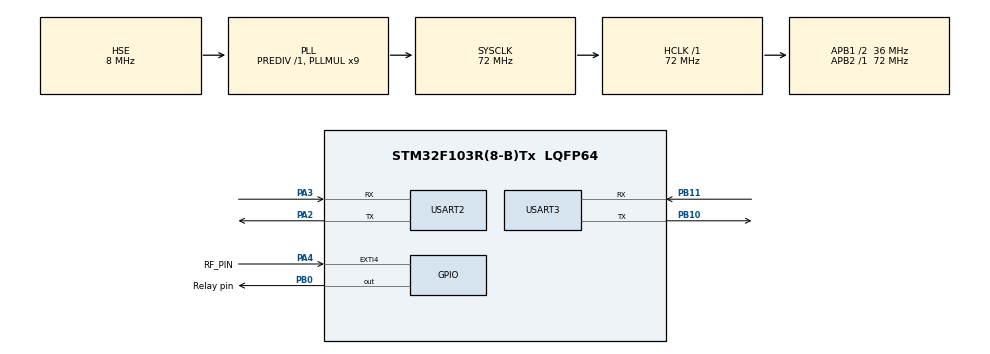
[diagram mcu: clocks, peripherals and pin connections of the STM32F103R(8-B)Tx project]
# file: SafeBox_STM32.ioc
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Dma.Request0=USART2_RX
Dma.USART2_RX.0.Direction=DMA_PERIPH_TO_MEMORY
Dma.USART2_RX.0.Instance=DMA1_Channel6
Dma.USART2_RX.0.MemDataAlignment=DMA_MDATAALIGN_BYTE
Dma.USART2_RX.0.MemInc=DMA_MINC_ENABLE
Dma.USART2_RX.0.Mode=DMA_CIRCULAR
Dma.USART2_RX.0.PeriphDataAlignment=DMA_PDATAALIGN_BYTE
Dma.USART2_RX.0.PeriphInc=DMA_PINC_DISABLE
Dma.USART2_RX.0.Priority=DMA_PRIORITY_MEDIUM
FREERTOS.Tasks01=defaultTask,24,128,StartDefaultTask,Default,NULL,Dynamic,NULL,NULL;GpsTask,25,256,StartTask02,Default,NULL,Dynamic,NULL,NULL;GsmTask,16,256,StartGsmTask,Default,NULL,Dynamic,NULL,NULL;RfTask,32,128,StartRfTask,Default,NULL,Dynamic,NULL,NULL
FREERTOS.configTOTAL_HEAP_SIZE=10240
FREERTOS.configUSE_NEWLIB_REENTRANT=1
FREERTOS.configUSE_PREEMPTION=1
Mcu.Family=STM32F1
Mcu.Name=STM32F103R(8-B)Tx
Mcu.Package=LQFP64
NVIC.DMA1_Channel6_IRQn=true\:5\:0\:false\:false\:true\:true\:false\:true\:true
NVIC.EXTI4_IRQn=true\:5\:0\:false\:false\:true\:true\:true\:true\:true
NVIC.PriorityGroup=NVIC_PRIORITYGROUP_4
NVIC.TIM1_UP_IRQn=true\:15\:0\:false\:false\:true\:false\:false\:true\:true
NVIC.TimeBase=TIM1_UP_IRQn
NVIC.TimeBaseIP=TIM1
NVIC.USART2_IRQn=true\:5\:0\:false\:false\:true\:true\:true\:true\:true
NVIC.USART3_IRQn=true\:5\:0\:false\:false\:true\:true\:true\:true\:true
PA13.Mode=Serial_Wire
PA13.Signal=SYS_JTMS-SWDIO
PA14.Mode=Serial_Wire
PA14.Signal=SYS_JTCK-SWCLK
PA2.Mode=Asynchronous
PA2.Signal=USART2_TX
PA3.Mode=Asynchronous
PA3.Signal=USART2_RX
PA4.GPIO_Label=RF_PIN
PA4.GPIO_ModeDefaultEXTI=GPIO_MODE_IT_RISING_FALLING
PA4.GPIO_PuPd=GPIO_PULLDOWN
PA4.Signal=GPXTI4
PB0.GPIO_Label=Relay pin
PB0.Signal=GPIO_Output
PB10.Mode=Asynchronous
PB10.Signal=USART3_TX
PB11.Mode=Asynchronous
PB11.Signal=USART3_RX
PD0-OSC_IN.Mode=HSE-External-Oscillator
PD0-OSC_IN.Signal=RCC_OSC_IN
PD1-OSC_OUT.Mode=HSE-External-Oscillator
PD1-OSC_OUT.Signal=RCC_OSC_OUT
ProjectManager.HeapSize=0x200
ProjectManager.StackSize=0x400
ProjectManager.TargetToolchain=STM32CubeIDE
RCC.AHBFreq_Value=72000000
RCC.APB1CLKDivider=RCC_HCLK_DIV2
RCC.APB1Freq_Value=36000000
RCC.APB1TimFreq_Value=72000000
RCC.APB2Freq_Value=72000000
RCC.APB2TimFreq_Value=72000000
RCC.HCLKFreq_Value=72000000
RCC.PLLMUL=RCC_PLL_MUL9
RCC.PLLSourceVirtual=RCC_PLLSOURCE_HSE
RCC.SYSCLKFreq_VALUE=72000000
RCC.SYSCLKSource=RCC_SYSCLKSOURCE_PLLCLK
RCC.USBFreq_Value=72000000
USART2.VirtualMode=VM_ASYNC
USART3.VirtualMode=VM_ASYNC
VP_FREERTOS_VS_CMSIS_V2.Mode=CMSIS_V2
VP_SYS_VS_tim1.Mode=TIM1
board=custom

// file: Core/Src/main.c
/* USER CODE BEGIN Header */
/**
  ******************************************************************************
  * @file           : main.c
  * @brief          : Main program body
  ******************************************************************************
  * @attention
  *
  * Copyright (c) 2026 STMicroelectronics.
  * All rights reserved.
  *
  * This software is licensed under terms that can be found in the LICENSE file
  * in the root directory of this software component.
  * If no LICENSE file comes with this software, it is provided AS-IS.
  *
  ******************************************************************************
  */
/* USER CODE END Header */
#include "main.h"
#include "cmsis_os.h"

/* USER CODE BEGIN Includes */
#include "esp_bridge.h"
#include "bn220.h"
#include "rf433.h"
#include <string.h>
#include <stdio.h>
/* USER CODE END Includes */

UART_HandleTypeDef huart2;
UART_HandleTypeDef huart3;
DMA_HandleTypeDef hdma_usart2_rx;

/* Definitions for defaultTask */
osThreadId_t defaultTaskHandle;
const osThreadAttr_t defaultTask_attributes = {
  .name = "defaultTask",
  .stack_size = 128 * 4,
  .priority = (osPriority_t) osPriorityNormal,
};
/* Definitions for GpsTask */
osThreadId_t GpsTaskHandle;
const osThreadAttr_t GpsTask_attributes = {
  .name = "GpsTask",
  .stack_size = 256 * 4,
  .priority = (osPriority_t) osPriorityNormal1,
};
/* Definitions for GsmTask */
osThreadId_t GsmTaskHandle;
const osThreadAttr_t GsmTask_attributes = {
  .name = "GsmTask",
  .stack_size = 256 * 4,
  .priority = (osPriority_t) osPriorityBelowNormal,
};
/* Definitions for RfTask */
osThreadId_t RfTaskHandle;
const osThreadAttr_t RfTask_attributes = {
  .name = "RfTask",
  .stack_size = 128 * 4,
  .priority = (osPriority_t) osPriorityAboveNormal,
};
/* USER CODE BEGIN PV */
#define DEVICE_ID "SAFEBOX_002"
/* Shared state */
volatile bool  g_isLocked    = true;
volatile bool  g_cloudLocked = true;
volatile float g_battery     = 100.0f;
volatile float g_fuel        = 100.0f;
extern uint8_t gps_rx_buffer[GPS_DMA_RX_BUFFER_SIZE];
/* USER CODE END PV */

void SystemClock_Config(void);
static void MX_GPIO_Init(void);
static void MX_DMA_Init(void);
static void MX_USART2_UART_Init(void);
static void MX_USART3_UART_Init(void);
void StartDefaultTask(void *argument);
void StartTask02(void *argument);
void StartGsmTask(void *argument);
void StartRfTask(void *argument);

int main(void)
{

  /* MCU Configuration--------------------------------------------------------*/

  /* Reset of all peripherals, Initializes the Flash interface and the Systick. */
  HAL_Init();

  /* Configure the system clock */
  SystemClock_Config();

  /* Initialize all configured peripherals */
  MX_GPIO_Init();
  MX_DMA_Init();
  MX_USART2_UART_Init();
  MX_USART3_UART_Init();

  /* Init scheduler */
  osKernelInitialize();

  /* Create the thread(s) */
  /* creation of defaultTask */
  defaultTaskHandle = osThreadNew(StartDefaultTask, NULL, &defaultTask_attributes);

  /* creation of GpsTask */
  GpsTaskHandle = osThreadNew(StartTask02, NULL, &GpsTask_attributes);

  /* creation of GsmTask */
  GsmTaskHandle = osThreadNew(StartGsmTask, NULL, &GsmTask_attributes);

  /* creation of RfTask */
  RfTaskHandle = osThreadNew(StartRfTask, NULL, &RfTask_attributes);

  /* Start scheduler */
  osKernelStart();

  /* We should never get here as control is now taken by the scheduler */

  /* Infinite loop */
  while (1)
  {

  }
}

void SystemClock_Config(void)
{
  RCC_OscInitTypeDef RCC_OscInitStruct = {0};
  RCC_ClkInitTypeDef RCC_ClkInitStruct = {0};

  /** Initializes the RCC Oscillators according to the specified parameters
  * in the RCC_OscInitTypeDef structure.
  */
  RCC_OscInitStruct.OscillatorType = RCC_OSCILLATORTYPE_HSE;
  RCC_OscInitStruct.HSEState = RCC_HSE_ON;
  RCC_OscInitStruct.HSEPredivValue = RCC_HSE_PREDIV_DIV1;
  RCC_OscInitStruct.HSIState = RCC_HSI_ON;
  RCC_OscInitStruct.PLL.PLLState = RCC_PLL_ON;
  RCC_OscInitStruct.PLL.PLLSource = RCC_PLLSOURCE_HSE;
  RCC_OscInitStruct.PLL.PLLMUL = RCC_PLL_MUL9;
  if (HAL_RCC_OscConfig(&RCC_OscInitStruct) != HAL_OK)
  {
    Error_Handler();
  }

  /** Initializes the CPU, AHB and APB buses clocks
  */
  RCC_ClkInitStruct.ClockType = RCC_CLOCKTYPE_HCLK|RCC_CLOCKTYPE_SYSCLK
                              |RCC_CLOCKTYPE_PCLK1|RCC_CLOCKTYPE_PCLK2;
  RCC_ClkInitStruct.SYSCLKSource = RCC_SYSCLKSOURCE_PLLCLK;
  RCC_ClkInitStruct.AHBCLKDivider = RCC_SYSCLK_DIV1;
  RCC_ClkInitStruct.APB1CLKDivider = RCC_HCLK_DIV2;
  RCC_ClkInitStruct.APB2CLKDivider = RCC_HCLK_DIV1;

  if (HAL_RCC_ClockConfig(&RCC_ClkInitStruct, FLASH_LATENCY_2) != HAL_OK)
  {
    Error_Handler();
  }
}

static void MX_USART2_UART_Init(void)
{

  huart2.Instance = USART2;
  huart2.Init.BaudRate = 9600;
  huart2.Init.WordLength = UART_WORDLENGTH_8B;
  huart2.Init.StopBits = UART_STOPBITS_1;
  huart2.Init.Parity = UART_PARITY_NONE;
  huart2.Init.Mode = UART_MODE_TX_RX;
  huart2.Init.HwFlowCtl = UART_HWCONTROL_NONE;
  huart2.Init.OverSampling = UART_OVERSAMPLING_16;
  if (HAL_UART_Init(&huart2) != HAL_OK)
  {
    Error_Handler();
  }

}

static void MX_USART3_UART_Init(void)
{

  huart3.Instance = USART3;
  huart3.Init.BaudRate = 115200;
  huart3.Init.WordLength = UART_WORDLENGTH_8B;
  huart3.Init.StopBits = UART_STOPBITS_1;
  huart3.Init.Parity = UART_PARITY_NONE;
  huart3.Init.Mode = UART_MODE_TX_RX;
  huart3.Init.HwFlowCtl = UART_HWCONTROL_NONE;
  huart3.Init.OverSampling = UART_OVERSAMPLING_16;
  if (HAL_UART_Init(&huart3) != HAL_OK)
  {
    Error_Handler();
  }

}

static void MX_DMA_Init(void)
{

  /* DMA controller clock enable */
  __HAL_RCC_DMA1_CLK_ENABLE();

  /* DMA interrupt init */
  /* DMA1_Channel6_IRQn interrupt configuration */
  HAL_NVIC_SetPriority(DMA1_Channel6_IRQn, 5, 0);
  HAL_NVIC_EnableIRQ(DMA1_Channel6_IRQn);

}

static void MX_GPIO_Init(void)
{
  GPIO_InitTypeDef GPIO_InitStruct = {0};

  /* GPIO Ports Clock Enable */
  __HAL_RCC_GPIOD_CLK_ENABLE();
  __HAL_RCC_GPIOA_CLK_ENABLE();
  __HAL_RCC_GPIOB_CLK_ENABLE();

  /*Configure GPIO pin Output Level */
  HAL_GPIO_WritePin(Relay_pin_GPIO_Port, Relay_pin_Pin, GPIO_PIN_RESET);

  /*Configure GPIO pin : RF_PIN_Pin */
  GPIO_InitStruct.Pin = RF_PIN_Pin;
  GPIO_InitStruct.Mode = GPIO_MODE_IT_RISING_FALLING;
  GPIO_InitStruct.Pull = GPIO_PULLDOWN;
  HAL_GPIO_Init(RF_PIN_GPIO_Port, &GPIO_InitStruct);

  /*Configure GPIO pin : Relay_pin_Pin */
  GPIO_InitStruct.Pin = Relay_pin_Pin;
  GPIO_InitStruct.Mode = GPIO_MODE_OUTPUT_PP;
  GPIO_InitStruct.Pull = GPIO_NOPULL;
  GPIO_InitStruct.Speed = GPIO_SPEED_FREQ_LOW;
  HAL_GPIO_Init(Relay_pin_GPIO_Port, &GPIO_InitStruct);

  /* EXTI interrupt init*/
  HAL_NVIC_SetPriority(EXTI4_IRQn, 5, 0);
  HAL_NVIC_EnableIRQ(EXTI4_IRQn);

}

/* USER CODE BEGIN 4 */

/* GPS DMA receive buffer */
uint8_t gps_rx_buffer[GPS_DMA_RX_BUFFER_SIZE];

/**
  * @brief UART Rx Event Callback — triggered by DMA IDLE line detection.
  *        Called when GPS IDLE fires or DMA buffer fills.
  */
void HAL_UARTEx_RxEventCallback(UART_HandleTypeDef *huart, uint16_t Size)
{
    if (huart->Instance == USART2) /* GPS UART */
    {
        extern void BN220_ParseNMEA(const uint8_t *buffer, uint16_t length);
        BN220_ParseNMEA(gps_rx_buffer, Size);
        /* Restart DMA reception */
        HAL_UARTEx_ReceiveToIdle_DMA(&huart2, gps_rx_buffer, GPS_DMA_RX_BUFFER_SIZE);
        /* Suppress half-transfer interrupt — only want IDLE events */
        __HAL_DMA_DISABLE_IT(huart2.hdmarx, DMA_IT_HT);
    }
}

/* USER CODE END 4 */

void StartDefaultTask(void *argument)
{
  for(;;)
  {
    osDelay(1);
  }
}

void StartTask02(void *argument)
{
  /* USER CODE BEGIN StartTask02 */
  /* GPS Task: kick off DMA, then yield — callback handles parsing */
  HAL_UARTEx_ReceiveToIdle_DMA(&huart2, gps_rx_buffer, GPS_DMA_RX_BUFFER_SIZE);
  __HAL_DMA_DISABLE_IT(huart2.hdmarx, DMA_IT_HT);
  for(;;)
  {
    /* Watchdog: restart DMA if GPS disconnected */
    if (huart2.RxState == HAL_UART_STATE_READY)
    {
      HAL_UARTEx_ReceiveToIdle_DMA(&huart2, gps_rx_buffer, GPS_DMA_RX_BUFFER_SIZE);
      __HAL_DMA_DISABLE_IT(huart2.hdmarx, DMA_IT_HT);
    }
    osDelay(1000);
  }
  /* USER CODE END StartTask02 */
}

void StartGsmTask(void *argument)
{
  /* USER CODE BEGIN StartGsmTask */
  /* Small delay to let ESP32 boot */
  osDelay(1000);
  ESP_Init();

  /* Enforce locked state at boot */
  HAL_GPIO_WritePin(RELAY_PIN_GPIO_Port, RELAY_PIN_Pin,
                    g_isLocked ? GPIO_PIN_RESET : GPIO_PIN_SET);

  uint32_t lastPublish = 0;
  for(;;)
  {
    ESP_Process();
    uint32_t now = osKernelGetTickCount();
    if (now - lastPublish >= 2000)
    {
      lastPublish = now;
      GPS_Data_t gps = BN220_GetLatestData();

      // Use default coordinates until the BN220 module gets a satellite lock
      if (gps.latitude == 0.0 && gps.longitude == 0.0) {
          gps.latitude = -1.9357331;
          gps.longitude = 30.1578407;
          gps.speed_kmh = 0.0;
      }

      // Embedded C trick to print floats because %f is disabled by default in STM32 nano libc
      int lat_i = (int)gps.latitude;
      int lat_f = (int)((gps.latitude - lat_i) * 1000000);
      if (lat_f < 0) lat_f = -lat_f;

      int lng_i = (int)gps.longitude;
      int lng_f = (int)((gps.longitude - lng_i) * 1000000);
      if (lng_f < 0) lng_f = -lng_f;

      int cur_speed = (int)gps.speed_kmh;

      char payload[300];
      snprintf(payload, sizeof(payload),
        "{\"deviceId\":\"%s\",\"lat\":%d.%06d,\"lng\":%d.%06d,"
        "\"speed\":%d,\"locked\":%s,\"cloudLocked\":%s,"
        "\"battery\":%d,\"fuel\":%d}",
        DEVICE_ID, lat_i, lat_f, lng_i, lng_f, cur_speed,
        g_isLocked ? "true":"false", g_cloudLocked ? "true":"false",
        (int)g_battery, (int)g_fuel);
      ESP_PublishMQTT(payload);
    }
    osDelay(50);
  }
  /* USER CODE END StartGsmTask */
}

void StartRfTask(void *argument)
{
  /* USER CODE BEGIN StartRfTask */
  RF433_Init();
  for(;;)
  {
    RF433_ProcessCommand();
    osDelay(50);
  }
  /* USER CODE END StartRfTask */
}

void HAL_TIM_PeriodElapsedCallback(TIM_HandleTypeDef *htim)
{
  if (htim->Instance == TIM1)
  {
    HAL_IncTick();
  }
}

/**
  * @brief  EXTI line detection callback — called by HAL on every GPIO interrupt edge.
  *         Routes PA4 edges (RF remote receiver) to the RF433 pulse counter.
  *         Without this function the remote press generates a hardware interrupt
  *         that falls into a HAL weak stub and is silently discarded.
  */
void HAL_GPIO_EXTI_Callback(uint16_t GPIO_Pin)
{
  /* USER CODE BEGIN HAL_GPIO_EXTI_Callback */
  RF433_EXTI_Callback(GPIO_Pin);
  /* USER CODE END HAL_GPIO_EXTI_Callback */
}

void Error_Handler(void)
{
  __disable_irq();
  while (1)
  {
  }
}

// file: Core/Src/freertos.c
/* USER CODE BEGIN Header */
/**
  ******************************************************************************
  * File Name          : freertos.c
  * Description        : Code for freertos applications
  ******************************************************************************
  * @attention
  *
  * Copyright (c) 2026 STMicroelectronics.
  * All rights reserved.
  *
  * This software is licensed under terms that can be found in the LICENSE file
  * in the root directory of this software component.
  * If no LICENSE file comes with this software, it is provided AS-IS.
  *
  ******************************************************************************
  */
/* USER CODE END Header */

#include "FreeRTOS.h"
#include "task.h"
#include "main.h"

/* USER CODE BEGIN Includes */
#include <stdbool.h>
#include <string.h>
#include "main.h"
/* USER CODE END Includes */

/* USER CODE BEGIN Application */

/* Extern shared state (defined in main.c) */
extern volatile bool  g_isLocked;
extern volatile bool  g_cloudLocked;

/**
  * @brief  Called by sim800l.c when a LOCK or UNLOCK MQTT message arrives.
  *         Overrides the weak stub in sim800l.c.
  */
void ESP_OnCommandReceived(const char *command)
{
    taskENTER_CRITICAL();
    if (strstr(command, "UNLOCK"))
    {
        /* Web UNLOCK: Grant permission, but do NOT energize relay yet.
         * The driver must press the RF remote to actually start the engine. */
        g_cloudLocked = false;
        // Do NOT change g_isLocked here! We wait for physical remote press.
    }
    else /* LOCK */
    {
        /* Web LOCK: instantly cut the engine and revoke permission. */
        g_cloudLocked = true;
        g_isLocked    = true;
        HAL_GPIO_WritePin(Relay_pin_GPIO_Port, Relay_pin_Pin, GPIO_PIN_RESET);
    }
    taskEXIT_CRITICAL();
}

/* USER CODE END Application */
